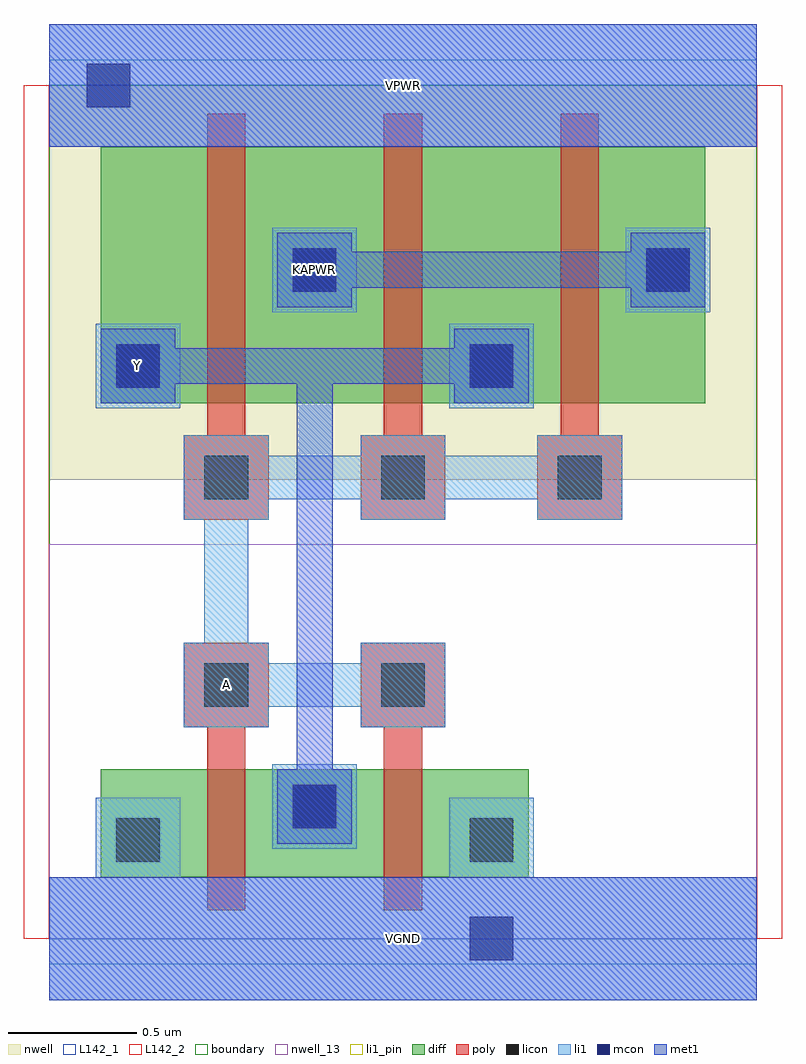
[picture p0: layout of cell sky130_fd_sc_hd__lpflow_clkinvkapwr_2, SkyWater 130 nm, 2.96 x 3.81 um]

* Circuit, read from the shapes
.subckt sky130_fd_sc_hd__lpflow_clkinvkapwr_2 A KAPWR VGND VPWR Y
XM1 Y A VGND VSUBS sky130_fd_pr__nfet_01v8 w=0.42 l=0.15 m=2
XM2 KAPWR A Y n1 sky130_fd_pr__pfet_01v8 w=1 l=0.15 m=3
.ends

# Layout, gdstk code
import gdstk
lib = gdstk.Library(unit=1e-6, precision=1e-09)
def R(c, l, rs):  # rectangles x0, y0, x1, y1
    for r in rs: c.add(gdstk.rectangle(r[:2], r[2:], *l))
def A(c, l, x, y, w, h, nx, ny, dx, dy):  # array of equal rectangles
    R(c, l, [(x+i*dx, y+j*dy, x+i*dx+w, y+j*dy+h) for i in range(nx) for j in range(ny)])
def P(c, l, *ps):  # polygons
    for p in ps: c.add(gdstk.Polygon(p, *l))
nwell_13 = (64, 13)
nwell = (64, 20)
diff = (65, 20)
poly = (66, 20)
licon = (66, 44)
li1_pin = (67, 16)
li1 = (67, 20)
mcon = (67, 44)
met1 = (68, 20)
L142_1 = (142, 1)
L142_2 = (142, 2)
boundary = (235, 4)

sky130_fd_sc_hd__lpflow_ = lib.new_cell('sky130_fd_sc_hd__lpflow_clkinvkapwr_2')
R(sky130_fd_sc_hd__lpflow_, nwell_13, [(0,0,2.76,1.54)])
R(sky130_fd_sc_hd__lpflow_, nwell, [(0,1.79,2.76,3.33)])
R(sky130_fd_sc_hd__lpflow_, diff, [(0.2,0.24,1.87,0.66), (0.2,0.24,0.615,0.66), (0.615,0.24,1.305,0.66), (1.305,0.24,1.87,0.66), (0.2,2.09,2.56,3.09), (0.2,2.09,0.615,3.09), (0.615,2.09,1.305,3.09), (1.305,2.09,1.995,3.09), (1.995,2.09,2.56,3.09)])
P(sky130_fd_sc_hd__lpflow_, poly, [(0.615,0.11),(0.615,0.825),(0.525,0.825),(0.525,1.155),(0.855,1.155),(0.855,0.825),(0.765,0.825),(0.765,0.11)],
  [(1.305,0.11),(1.305,0.825),(1.215,0.825),(1.215,1.155),(1.545,1.155),(1.545,0.825),(1.455,0.825),(1.455,0.11)],
  [(0.525,1.635),(0.525,1.965),(0.615,1.965),(0.615,3.22),(0.765,3.22),(0.765,1.965),(0.855,1.965),(0.855,1.635)],
  [(1.215,1.635),(1.215,1.965),(1.305,1.965),(1.305,3.22),(1.455,3.22),(1.455,1.965),(1.545,1.965),(1.545,1.635)],
  [(1.905,1.635),(1.905,1.965),(1.995,1.965),(1.995,3.22),(2.145,3.22),(2.145,1.965),(2.235,1.965),(2.235,1.635)])
A(sky130_fd_sc_hd__lpflow_, licon, 0.605, 1.715, 0.17, 0.17, 3, 1, 0.69, 0)
R(sky130_fd_sc_hd__lpflow_, licon, [(0.26,0.3,0.43,0.47), (1.64,0.3,1.81,0.47), (0.95,0.43,1.12,0.6), (0.605,0.905,0.775,1.075), (1.295,0.905,1.465,1.075), (0.26,2.15,0.43,2.32), (1.64,2.15,1.81,2.32), (0.95,2.525,1.12,2.695), (2.33,2.525,2.5,2.695)])
R(sky130_fd_sc_hd__lpflow_, li1_pin, [(0,-0.24,2.76,0.24), (0.18,2.07,0.51,2.4), (0.87,2.445,1.2,2.775), (0,3.09,2.76,3.57)])
P(sky130_fd_sc_hd__lpflow_, li1_pin, [(0.525,0.825),(0.525,1.155),(0.605,1.155),(0.605,1.635),(0.525,1.635),(0.525,1.965),(0.855,1.965),(0.855,1.885),(1.215,1.885),(1.215,1.965),(1.545,1.965),(1.545,1.885),(1.905,1.885),(1.905,1.965),(2.235,1.965),(2.235,1.635),(1.905,1.635),(1.905,1.715),(1.545,1.715),(1.545,1.635),(1.215,1.635),(1.215,1.715),(0.855,1.715),(0.855,1.635),(0.775,1.635),(0.775,1.155),(0.855,1.155),(0.855,1.075),(1.215,1.075),(1.215,1.155),(1.545,1.155),(1.545,0.825),(1.215,0.825),(1.215,0.905),(0.855,0.905),(0.855,0.825)])
R(sky130_fd_sc_hd__lpflow_, li1, [(0.87,0.35,1.2,0.68), (0.18,2.07,0.51,2.4), (1.56,2.07,1.89,2.4), (0.87,2.445,1.2,2.775), (2.25,2.445,2.58,2.775), (0,3.09,2.76,3.57)])
P(sky130_fd_sc_hd__lpflow_, li1, [(0,-0.24),(0,0.24),(0.18,0.24),(0.18,0.55),(0.51,0.55),(0.51,0.24),(1.56,0.24),(1.56,0.55),(1.89,0.55),(1.89,0.24),(2.76,0.24),(2.76,-0.24)],
  [(0.525,0.825),(0.525,1.155),(0.605,1.155),(0.605,1.635),(0.525,1.635),(0.525,1.965),(0.855,1.965),(0.855,1.885),(1.215,1.885),(1.215,1.965),(1.545,1.965),(1.545,1.885),(1.905,1.885),(1.905,1.965),(2.235,1.965),(2.235,1.635),(1.905,1.635),(1.905,1.715),(1.545,1.715),(1.545,1.635),(1.215,1.635),(1.215,1.715),(0.855,1.715),(0.855,1.635),(0.775,1.635),(0.775,1.155),(0.855,1.155),(0.855,1.075),(1.215,1.075),(1.215,1.155),(1.545,1.155),(1.545,0.825),(1.215,0.825),(1.215,0.905),(0.855,0.905),(0.855,0.825)])
R(sky130_fd_sc_hd__lpflow_, mcon, [(1.64,-0.085,1.81,0.085), (0.95,0.43,1.12,0.6), (0.26,2.15,0.43,2.32), (1.64,2.15,1.81,2.32), (0.95,2.525,1.12,2.695), (2.33,2.525,2.5,2.695), (0.145,3.245,0.315,3.415)])
R(sky130_fd_sc_hd__lpflow_, met1, [(0,-0.24,2.76,0.24), (0,3.09,2.76,3.57)])
P(sky130_fd_sc_hd__lpflow_, met1, [(0.89,0.37),(0.89,0.66),(0.965,0.66),(0.965,2.165),(0.49,2.165),(0.49,2.09),(0.2,2.09),(0.2,2.38),(0.49,2.38),(0.49,2.305),(1.58,2.305),(1.58,2.38),(1.87,2.38),(1.87,2.09),(1.58,2.09),(1.58,2.165),(1.105,2.165),(1.105,0.66),(1.18,0.66),(1.18,0.37)],
  [(0.89,2.465),(0.89,2.755),(1.18,2.755),(1.18,2.68),(2.27,2.68),(2.27,2.755),(2.56,2.755),(2.56,2.465),(2.27,2.465),(2.27,2.54),(1.18,2.54),(1.18,2.465)])
R(sky130_fd_sc_hd__lpflow_, L142_1, [(0,-0.1,2.76,0), (0,3.33,2.76,3.43)])
R(sky130_fd_sc_hd__lpflow_, L142_2, [(-0.1,0,0,3.33), (2.76,0,2.86,3.33)])
R(sky130_fd_sc_hd__lpflow_, boundary, [(0,0,2.76,3.33)])
sky130_fd_sc_hd__lpflow_.add(gdstk.Label('Y', (0.345,2.235), layer=67, texttype=5))
sky130_fd_sc_hd__lpflow_.add(gdstk.Label('KAPWR', (1.035,2.61), layer=67, texttype=5))
sky130_fd_sc_hd__lpflow_.add(gdstk.Label('A', (0.69,0.99), layer=67, texttype=5))
sky130_fd_sc_hd__lpflow_.add(gdstk.Label('VGND', (1.38,0), layer=67, texttype=5))
sky130_fd_sc_hd__lpflow_.add(gdstk.Label('VPWR', (1.38,3.33), layer=67, texttype=5))
sky130_fd_sc_hd__lpflow_.add(gdstk.Label('VGND', (1.38,0), layer=68, texttype=5))
sky130_fd_sc_hd__lpflow_.add(gdstk.Label('VPWR', (1.38,3.33), layer=68, texttype=5))

lib.write_gds('sky130_fd_sc_hd__lpflow_clkinvkapwr_2.gds')
